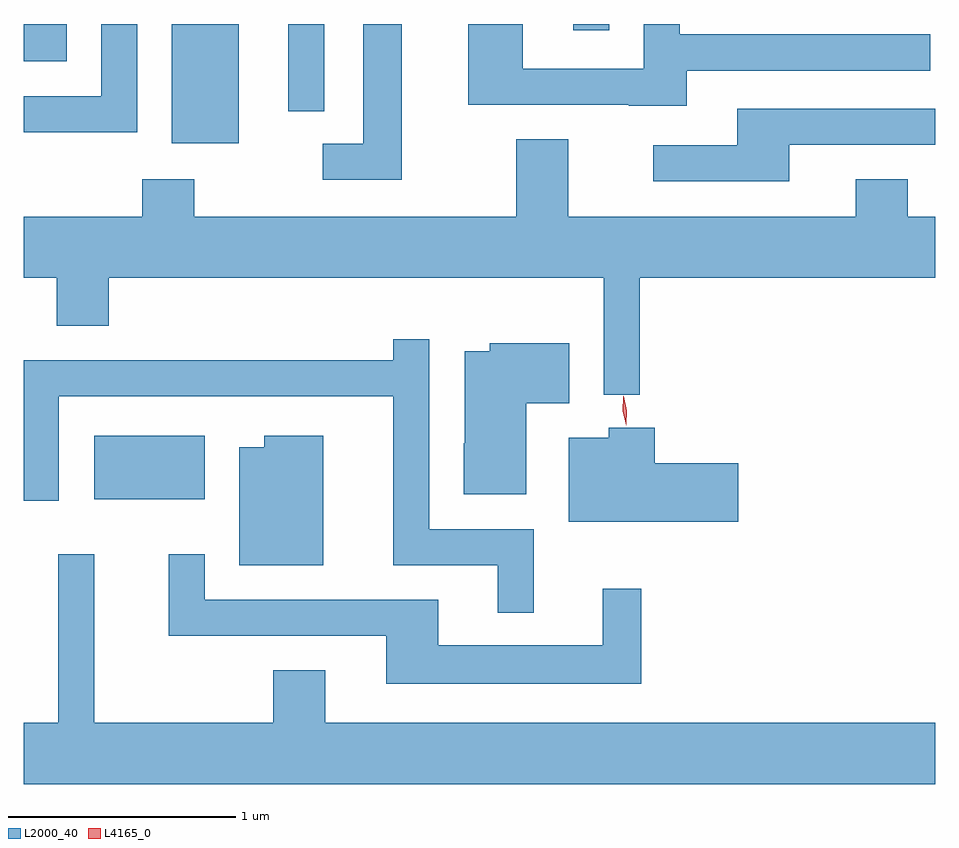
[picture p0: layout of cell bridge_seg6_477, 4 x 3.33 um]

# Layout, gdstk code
import gdstk
lib = gdstk.Library(unit=1e-6, precision=1e-09)
def R(c, l, rs):  # rectangles x0, y0, x1, y1
    for r in rs: c.add(gdstk.rectangle(r[:2], r[2:], *l))
def P(c, l, *ps):  # polygons
    for p in ps: c.add(gdstk.Polygon(p, *l))
L2000_40 = (2000, 40)
L4165_0 = (4165, 0)

bridge_seg6_477 = lib.new_cell('bridge_seg6_477')
R(bridge_seg6_477, L2000_40, [(985.971,1586.806,986.454,1587.084), (986.311,1588.366,986.604,1588.89), (986.821,1588.508,986.979,1588.89), (985.66,1588.726,985.849,1588.89), (988.071,1588.863,988.229,1588.89)])
P(bridge_seg6_477, L2000_40, [(988.569,1588.686),(989.638,1588.686),(989.638,1588.844),(988.539,1588.844),(988.539,1588.89),(988.381,1588.89),(988.381,1588.694),(987.849,1588.694),(987.849,1588.89),(987.611,1588.89),(987.611,1588.536),(988.315,1588.536),(988.315,1588.531),(988.569,1588.531)],
  [(987.319,1588.89),(987.151,1588.89),(987.151,1588.364),(986.973,1588.364),(986.973,1588.206),(987.319,1588.206)],
  [(986.159,1588.89),(986.001,1588.89),(986.001,1588.574),(985.66,1588.574),(985.66,1588.416),(986.159,1588.416)],
  [(989.019,1588.361),(989.66,1588.361),(989.66,1588.519),(988.791,1588.519),(988.791,1588.359),(988.423,1588.359),(988.423,1588.201),(989.019,1588.201)],
  [(988.364,1587.776),(989.66,1587.776),(989.66,1588.044),(989.539,1588.044),(989.539,1588.209),(989.311,1588.209),(989.311,1588.044),(988.049,1588.044),(988.049,1588.384),(987.821,1588.384),(987.821,1588.044),(986.409,1588.044),(986.409,1588.209),(986.181,1588.209),(986.181,1588.044),(985.66,1588.044),(985.66,1587.776),(985.806,1587.776),(985.806,1587.566),(986.034,1587.566),(986.034,1587.776),(988.206,1587.776),(988.206,1587.263),(988.364,1587.263)],
  [(987.899,1586.674),(987.439,1586.674),(987.439,1587.508),(987.281,1587.508),(987.281,1587.414),(985.66,1587.414),(985.66,1586.798),(985.814,1586.798),(985.814,1587.256),(987.281,1587.256),(987.281,1586.516),(987.741,1586.516),(987.741,1586.308),(987.899,1586.308)],
  [(987.864,1587.226),(988.054,1587.226),(988.054,1587.489),(987.706,1587.489),(987.706,1587.454),(987.596,1587.454),(987.596,1587.05),(987.591,1587.05),(987.591,1586.826),(987.864,1586.826)],
  [(988.794,1586.964),(988.429,1586.964),(988.429,1587.119),(988.226,1587.119),(988.226,1587.074),(988.051,1587.074),(988.051,1586.706),(988.794,1586.706)],
  [(986.974,1587.084),(986.716,1587.084),(986.716,1587.034),(986.606,1587.034),(986.606,1586.516),(986.974,1586.516)],
  [(989.66,1585.824),(986.984,1585.824),(986.984,1586.054),(986.756,1586.054),(986.756,1585.824),(985.969,1585.824),(985.969,1586.563),(985.811,1586.563),(985.811,1585.824),(985.66,1585.824),(985.66,1585.556),(989.66,1585.556)],
  [(988.369,1586.413),(988.201,1586.413),(988.201,1586.164),(987.479,1586.164),(987.479,1586.364),(986.454,1586.364),(986.454,1586.563),(986.296,1586.563),(986.296,1586.206),(987.251,1586.206),(987.251,1585.996),(988.369,1585.996)])
P(bridge_seg6_477, L4165_0, [(988.304,1587.13),(988.303,1587.131),(988.288,1587.192),(988.291,1587.256),(988.291,1587.256),(988.292,1587.256),(988.307,1587.194),(988.304,1587.131)])

lib.write_gds('bridge_seg6_477.gds')
